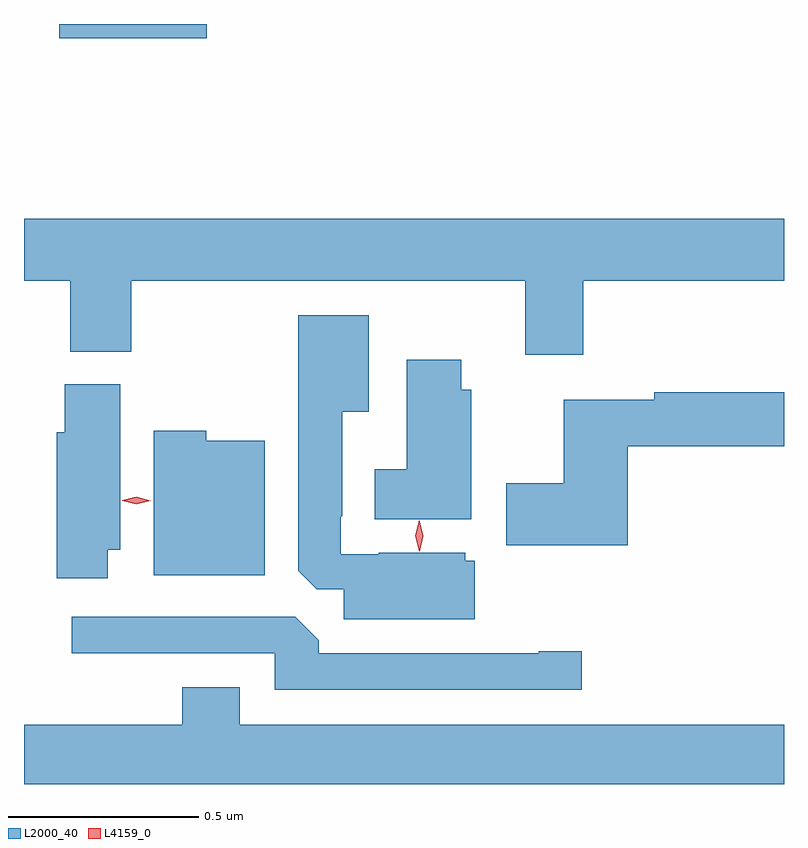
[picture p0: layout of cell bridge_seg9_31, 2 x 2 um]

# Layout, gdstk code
import gdstk
lib = gdstk.Library(unit=1e-6, precision=1e-09)
def R(c, l, rs):  # rectangles x0, y0, x1, y1
    for r in rs: c.add(gdstk.rectangle(r[:2], r[2:], *l))
def P(c, l, *ps):  # polygons
    for p in ps: c.add(gdstk.Polygon(p, *l))
L2000_40 = (2000, 40)
L4159_0 = (4159, 0)

bridge_seg9_31 = lib.new_cell('bridge_seg9_31')
R(bridge_seg9_31, L2000_40, [(986.958,1199.722,987.346,1199.76)])
P(bridge_seg9_31, L2000_40, [(988.337,1199.084),(988.865,1199.084),(988.865,1199.248),(986.865,1199.248),(986.865,1199.084),(986.987,1199.084),(986.987,1198.897),(987.147,1198.897),(987.147,1199.084),(988.184,1199.084),(988.184,1198.89),(988.337,1198.89)],
  [(988.051,1198.347),(988.026,1198.347),(988.026,1198.369),(987.799,1198.369),(987.799,1198.365),(987.699,1198.365),(987.699,1198.465),(987.703,1198.465),(987.703,1198.739),(987.772,1198.739),(987.772,1198.993),(987.587,1198.993),(987.587,1198.321),(987.636,1198.272),(987.707,1198.272),(987.707,1198.193),(988.051,1198.193)],
  [(988.042,1198.797),(988.015,1198.797),(988.015,1198.876),(987.872,1198.876),(987.872,1198.588),(987.788,1198.588),(987.788,1198.457),(988.042,1198.457)],
  [(987.085,1198.376),(987.118,1198.376),(987.118,1198.812),(986.972,1198.812),(986.972,1198.686),(986.951,1198.686),(986.951,1198.302),(987.085,1198.302)],
  [(988.454,1198.649),(988.865,1198.649),(988.865,1198.791),(988.524,1198.791),(988.524,1198.771),(988.286,1198.771),(988.286,1198.551),(988.134,1198.551),(988.134,1198.388),(988.454,1198.388)],
  [(987.499,1198.663),(987.345,1198.663),(987.345,1198.69),(987.206,1198.69),(987.206,1198.31),(987.499,1198.31)],
  [(988.333,1198.109),(988.22,1198.109),(988.22,1198.104),(987.641,1198.104),(987.641,1198.138),(987.579,1198.2),(986.991,1198.2),(986.991,1198.104),(987.525,1198.104),(987.525,1198.008),(988.333,1198.008)],
  [(988.865,1197.916),(987.433,1197.916),(987.433,1198.015),(987.281,1198.015),(987.281,1197.916),(986.865,1197.916),(986.865,1197.76),(988.865,1197.76)])
P(bridge_seg9_31, L4159_0, [(987.905,1198.373),(987.895,1198.413),(987.905,1198.454),(987.905,1198.454),(987.905,1198.454),(987.915,1198.413),(987.906,1198.373),(987.906,1198.373)],
  [(987.161,1198.496),(987.123,1198.506),(987.123,1198.506),(987.123,1198.507),(987.161,1198.516),(987.199,1198.506),(987.199,1198.506),(987.199,1198.506)])

lib.write_gds('bridge_seg9_31.gds')
